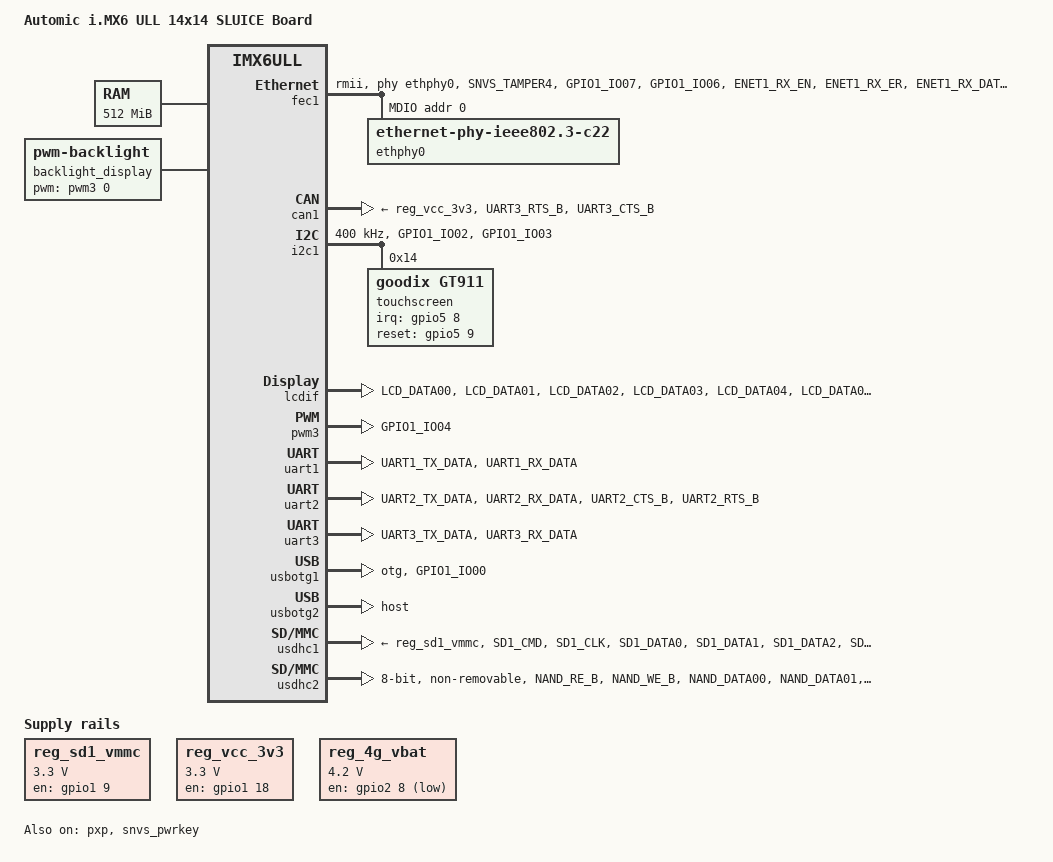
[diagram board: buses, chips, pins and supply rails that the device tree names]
/dts-v1/;

#include "imx6ull.dtsi"
// SPDX-License-Identifier: GPL-2.0
//
// Copyright (C) 2015 Freescale Semiconductor, Inc.

/ {
    model = "Automic i.MX6 ULL 14x14 SLUICE Board";
	compatible = "fsl,imx6ull-14x14-evk", "fsl,imx6ull";

	chosen {
		stdout-path = &uart1;
	};

	memory@80000000 {
		device_type = "memory";
		reg = <0x80000000 0x20000000>;
	};

	reserved-memory {
		#address-cells = <1>;
		#size-cells = <1>;
		ranges;

		linux,cma {
			compatible = "shared-dma-pool";
			reusable;
			size = <0xa000000>;
			linux,cma-default;
		};
	};

	backlight_display: backlight-display {
		compatible = "pwm-backlight";
		pwms = <&pwm3 0 5000000>;
		brightness-levels = <  0   1   2   3   4   5   6   7   8   9
				      10  11  12  13  14  15  16  17  18  19
				      20  21  22  23  24  25  26  27  28  29
				      30  31  32  33  34  35  36  37  38  39
				      40  41  42  43  44  45  46  47  48  49
				      50  51  52  53  54  55  56  57  58  59
				      60  61  62  63  64  65  66  67  68  69
				      70  71  72  73  74  75  76  77  78  79
				      80  81  82  83  84  85  86  87  88  89
				      90  91  92  93  94  95  96  97  98  99
				     100 101 102 103 104 105 106 107 108 109
				     110 111 112 113 114 115 116 117 118 119
				     120 121 122 123 124 125 126 127 128 129
				     130 131 132 133 134 135 136 137 138 139
				     140 141 142 143 144 145 146 147 148 149
				     150 151 152 153 154 155 156 157 158 159
				     160 161 162 163 164 165 166 167 168 169
				     170 171 172 173 174 175 176 177 178 179
				     180 181 182 183 184 185 186 187 188 189
				     190 191 192 193 194 195 196 197 198 199
				     200 201 202 203 204 205 206 207 208 209
				     210 211 212 213 214 215 216 217 218 219
				     220 221 222 223 224 225 226 227 228 229
				     230 231 232 233 234 235 236 237 238 239
				     240 241 242 243 244 245 246 247 248 249
				     250 251 252 253 254 255>;
		default-brightness-level = <150>;
		status = "okay";
	};

	pxp_v4l2 {
		compatible = "fsl,imx6ul-pxp-v4l2", "fsl,imx6sx-pxp-v4l2", "fsl,imx6sl-pxp-v4l2";
		status = "okay";
	};

	reg_sd1_vmmc: regulator-sd1-vmmc {
		compatible = "regulator-fixed";
		regulator-name = "VSD_3V3";
		regulator-min-microvolt = <3300000>;
		regulator-max-microvolt = <3300000>;
		gpio = <&gpio1 9 GPIO_ACTIVE_HIGH>;
		off-on-delay-us = <30000>;
		enable-active-high;
	};

	reg_vcc_3v3: regulator-can-3v3 {
		compatible = "regulator-fixed";
		pinctrl-names = "default";
		pinctrl-0 = <&pinctrl_vcc_3v3>;
		regulator-name = "VCC-3V3";
		regulator-min-microvolt = <3300000>;
		regulator-max-microvolt = <3300000>;
		gpios = <&gpio1 18 GPIO_ACTIVE_HIGH>;
		off-on-delay-us = <50000>;
		enable-active-high;
		regulator-always-on;
	};

	reg_4g_vbat: regulator-4g-vbat {
		compatible = "regulator-fixed";
		pinctrl-names = "default";
		pinctrl-0 = <&pinctrl_4g_vbat>;
		regulator-name = "VBAT-4G";
		regulator-min-microvolt = <4200000>;
		regulator-max-microvolt = <4200000>;
		gpios = <&gpio2 8 GPIO_ACTIVE_LOW>;
		off-on-delay-us = <50000>;
		regulator-always-on;
	};

};

&clks {
    assigned-clocks = <&clks IMX6UL_CLK_PLL3_PFD2>,
			  <&clks IMX6UL_CLK_PLL4_AUDIO_DIV>;
	assigned-clock-rates = <320000000>, <786432000>;
};

&fec1 {
	pinctrl-names = "default";
	pinctrl-0 = <&pinctrl_enet1>;
	phy-mode = "rmii";
	phy-handle = <&ethphy0>;
	phy-reset-gpios = <&gpio5 4 GPIO_ACTIVE_LOW>;
	phy-reset-duration = <100>;
	phy-reset-post-delay = <300>;
	status = "okay";
	
	mdio {
		#address-cells = <1>;
		#size-cells = <0>;

		ethphy0: ethernet-phy@1{
			compatible = "ethernet-phy-ieee802.3-c22";
			smsc,disable-energy-detect;
			reg = <0>;
		};
/*
		ethphy1: ethernet-phy@2 {
			compatible = "ethernet-phy-ieee802.3-c22";
			smsc,disable-energy-detect;
			reg = <1>;
		};
*/
	};
};

&can1 {
	pinctrl-names = "default";
	pinctrl-0 = <&pinctrl_flexcan1>;
	xceiver-supply = <&reg_vcc_3v3>;
	status = "okay";
};
/*
&can2 {
	pinctrl-names = "default";
	pinctrl-0 = <&pinctrl_flexcan2>;
	xceiver-supply = <&reg_can_3v3>;
	status = "okay";
};
*/

&i2c1 {
	clock-frequency = <400000>;
	pinctrl-names = "default";
	pinctrl-0 = <&pinctrl_i2c1>;
	status = "okay";

	touchscreen@14 {
		compatible = "goodix,gt911";
		reg = <0x14>;
		pinctrl-names = "default";
		pinctrl-0 = <&pinctrl_goodix_touch>;
		interrupt-parent = <&gpio5>;
		interrupts = <8 IRQ_TYPE_EDGE_RISING>;
		irq-gpios = <&gpio5 8 GPIO_ACTIVE_HIGH>;
		reset-gpios = <&gpio5 9 GPIO_ACTIVE_HIGH>;
		status = "okay";
	};
};

&lcdif {
    assigned-clocks = <&clks IMX6UL_CLK_LCDIF_PRE_SEL>;
	assigned-clock-parents = <&clks IMX6UL_CLK_PLL5_VIDEO_DIV>;
	pinctrl-names = "default";
	pinctrl-0 = <&pinctrl_lcdif_dat
		     &pinctrl_lcdif_ctrl>;

	display = <&display0>;
	status = "okay";

	display0: display@0 {
		bits-per-pixel = <24>;
		bus-width = <24>;

		display-timings {
			native-mode = <&timing0>;
			timing0: timing0 {
			clock-frequency = <51200000>;
			hactive = <1024>;
			vactive = <600>;
			hfront-porch = <160>;
			hback-porch = <160>;
			hsync-len = <70>;
			vback-porch = <23>;
			vfront-porch = <12>;
			vsync-len = <10>;

			hsync-active = <0>;
			vsync-active = <0>;
			de-active = <1>;
			pixelclk-active = <0>;
			};
		};
	};
};
&pxp {
	status = "okay";
};

&pwm3 {
	#pwm-cells = <2>;
	pinctrl-names = "default";
	pinctrl-0 = <&pinctrl_pwm3>;
	status = "okay";
};

&snvs_poweroff {
	status = "okay";
};

&snvs_pwrkey {
	status = "okay";
};


&uart1 {
	pinctrl-names = "default";
	pinctrl-0 = <&pinctrl_uart1>;
	status = "okay";
};

&uart2 {
	pinctrl-names = "default";
	pinctrl-0 = <&pinctrl_uart2>;
	uart-has-rtscts;
	/* for DTE mode, add below change */
	/* fsl,dte-mode; */
	/* pinctrl-0 = <&pinctrl_uart2dte>; */
	status = "okay";
};

&uart3 {
	pinctrl-names = "default";
	pinctrl-0 = <&pinctrl_uart3>;
	status = "okay";
};

&usbotg1 {
	dr_mode = "otg";
	pinctrl-names = "default";
	pinctrl-0 = <&pinctrl_usb_otg1>;
	status = "okay";
};

&usbotg2 {
	dr_mode = "host";
	disable-over-current;
	status = "okay";
};

&usbphy1 {
	fsl,tx-d-cal = <106>;
};

&usbphy2 {
	fsl,tx-d-cal = <106>;
};

&usdhc1 {
	pinctrl-names = "default", "state_100mhz", "state_200mhz";
	pinctrl-0 = <&pinctrl_usdhc1>;
	pinctrl-1 = <&pinctrl_usdhc1_100mhz>;
	pinctrl-2 = <&pinctrl_usdhc1_200mhz>;
	cd-gpios = <&gpio1 19 GPIO_ACTIVE_LOW>;
	keep-power-in-suspend;
	wakeup-source;
	vmmc-supply = <&reg_sd1_vmmc>;
	status = "okay";
};

//EMMC
&usdhc2 {
	pinctrl-names = "default", "state_100mhz", "state_200mhz";
	pinctrl-0 = <&pinctrl_usdhc2_8bit>;
	pinctrl-1 = <&pinctrl_usdhc2_8bit_100mhz>;
	pinctrl-2 = <&pinctrl_usdhc2_8bit_200mhz>;
	bus-width = <8>;
	non-removable;
	status = "okay";
};

&wdog1 {
	pinctrl-names = "default";
	pinctrl-0 = <&pinctrl_wdog>;
	fsl,ext-reset-output;
};

&iomuxc {
	pinctrl-names = "default";
	pinctrl_enet1: enet1grp {
		fsl,pins = <
			MX6UL_PAD_SNVS_TAMPER4__GPIO5_IO04  0x0b8b0
			MX6UL_PAD_GPIO1_IO07__ENET1_MDC		0x1b0b0
			MX6UL_PAD_GPIO1_IO06__ENET1_MDIO	0x1b0b0
			MX6UL_PAD_ENET1_RX_EN__ENET1_RX_EN	0x1b0b0
			MX6UL_PAD_ENET1_RX_ER__ENET1_RX_ER	0x1b0b0
			MX6UL_PAD_ENET1_RX_DATA0__ENET1_RDATA00	0x1b0b0
			MX6UL_PAD_ENET1_RX_DATA1__ENET1_RDATA01	0x1b0b0
			MX6UL_PAD_ENET1_TX_EN__ENET1_TX_EN	0x1b0b0
			MX6UL_PAD_ENET1_TX_DATA0__ENET1_TDATA00	0x1b0b0
			MX6UL_PAD_ENET1_TX_DATA1__ENET1_TDATA01	0x1b0b0
			MX6UL_PAD_ENET1_TX_CLK__ENET1_REF_CLK1	0x4001b031
		>;
	};

	pinctrl_flexcan1: flexcan1grp{
		fsl,pins = <
			MX6UL_PAD_UART3_RTS_B__FLEXCAN1_RX	0x1b020
			MX6UL_PAD_UART3_CTS_B__FLEXCAN1_TX	0x1b020
		>;
	};

	pinctrl_i2c1: i2c1grp {
		fsl,pins = <
			MX6UL_PAD_GPIO1_IO02__I2C1_SCL 0x4001b8b0
			MX6UL_PAD_GPIO1_IO03__I2C1_SDA 0x4001b8b0
		>;
	};


	pinctrl_i2c1_gpio: i2c1grp_gpio {
		fsl,pins = <
			MX6UL_PAD_GPIO1_IO02__GPIO1_IO02 0x1b8b0
			MX6UL_PAD_GPIO1_IO03__GPIO1_IO03 0x1b8b0
		>;
	};
	pinctrl_goodix_touch: goodixgrp{
		fsl,pins = <
			MX6UL_PAD_SNVS_TAMPER8__GPIO5_IO08	0x1b020  /*TS-INT*/
			MX6UL_PAD_SNVS_TAMPER9__GPIO5_IO09 	0x1b0b0 /*TS-REST*/
		>;
	};
	pinctrl_lcdif_dat: lcdifdatgrp {
		fsl,pins = <
			MX6UL_PAD_LCD_DATA00__LCDIF_DATA00  0x79
			MX6UL_PAD_LCD_DATA01__LCDIF_DATA01  0x79
			MX6UL_PAD_LCD_DATA02__LCDIF_DATA02  0x79
			MX6UL_PAD_LCD_DATA03__LCDIF_DATA03  0x79
			MX6UL_PAD_LCD_DATA04__LCDIF_DATA04  0x79
			MX6UL_PAD_LCD_DATA05__LCDIF_DATA05  0x79
			MX6UL_PAD_LCD_DATA06__LCDIF_DATA06  0x79
			MX6UL_PAD_LCD_DATA07__LCDIF_DATA07  0x79
			MX6UL_PAD_LCD_DATA08__LCDIF_DATA08  0x79
			MX6UL_PAD_LCD_DATA09__LCDIF_DATA09  0x79
			MX6UL_PAD_LCD_DATA10__LCDIF_DATA10  0x79
			MX6UL_PAD_LCD_DATA11__LCDIF_DATA11  0x79
			MX6UL_PAD_LCD_DATA12__LCDIF_DATA12  0x79
			MX6UL_PAD_LCD_DATA13__LCDIF_DATA13  0x79
			MX6UL_PAD_LCD_DATA14__LCDIF_DATA14  0x79
			MX6UL_PAD_LCD_DATA15__LCDIF_DATA15  0x79
			MX6UL_PAD_LCD_DATA16__LCDIF_DATA16  0x79
			MX6UL_PAD_LCD_DATA17__LCDIF_DATA17  0x79
			MX6UL_PAD_LCD_DATA18__LCDIF_DATA18  0x79
			MX6UL_PAD_LCD_DATA19__LCDIF_DATA19  0x79
			MX6UL_PAD_LCD_DATA20__LCDIF_DATA20  0x79
			MX6UL_PAD_LCD_DATA21__LCDIF_DATA21  0x79
			MX6UL_PAD_LCD_DATA22__LCDIF_DATA22  0x79
			MX6UL_PAD_LCD_DATA23__LCDIF_DATA23  0x79
		>;
	};

	pinctrl_lcdif_ctrl: lcdifctrlgrp {
		fsl,pins = <
			MX6UL_PAD_LCD_CLK__LCDIF_CLK	    0x79
			MX6UL_PAD_LCD_ENABLE__LCDIF_ENABLE  0x79
			MX6UL_PAD_LCD_HSYNC__LCDIF_HSYNC    0x79
			MX6UL_PAD_LCD_VSYNC__LCDIF_VSYNC    0x79
			/* used for lcd reset */
			MX6UL_PAD_SNVS_TAMPER7__GPIO5_IO07  0x79

		>;
	};

	pinctrl_vcc_3v3: vcc3v3grp {
		fsl,pins = <
			MX6UL_PAD_UART1_CTS_B__GPIO1_IO18	0x1b0b0
		>;
	};

	pinctrl_4g_vbat: lte_vbat_grp {
		fsl,pins = <
			MX6UL_PAD_ENET2_RX_DATA0__GPIO2_IO08	0x1b0b0
		>;
	};

	pinctrl_pwm3: pwm3grp {
		fsl,pins = <
			MX6UL_PAD_GPIO1_IO04__PWM3_OUT   0x110b0
		>;
	};
/*
	pinctrl_sim2: sim2grp {
		fsl,pins = <
			MX6UL_PAD_CSI_DATA03__SIM2_PORT1_PD		0xb808
			MX6UL_PAD_CSI_DATA04__SIM2_PORT1_CLK		0x31
			MX6UL_PAD_CSI_DATA05__SIM2_PORT1_RST_B		0xb808
			MX6UL_PAD_CSI_DATA06__SIM2_PORT1_SVEN		0xb808
			MX6UL_PAD_CSI_DATA07__SIM2_PORT1_TRXD		0xb809
			MX6UL_PAD_CSI_DATA02__GPIO4_IO23		0x3008
		>;
	};
*/
/*
	pinctrl_tsc: tscgrp {
		fsl,pins = <
			MX6UL_PAD_GPIO1_IO01__GPIO1_IO01		0xb0
			MX6UL_PAD_GPIO1_IO02__GPIO1_IO02		0xb0
			MX6UL_PAD_GPIO1_IO03__GPIO1_IO03		0xb0
			MX6UL_PAD_GPIO1_IO04__GPIO1_IO04		0xb0
		>;
	};
*/
	pinctrl_uart1: uart1grp {
		fsl,pins = <
			MX6UL_PAD_UART1_TX_DATA__UART1_DCE_TX 0x1b0b1
			MX6UL_PAD_UART1_RX_DATA__UART1_DCE_RX 0x1b0b1
		>;
	};

	pinctrl_uart2: uart2grp {
		fsl,pins = <
			MX6UL_PAD_UART2_TX_DATA__UART2_DCE_TX	0x1b0b1
			MX6UL_PAD_UART2_RX_DATA__UART2_DCE_RX	0x1b0b1
			MX6UL_PAD_UART2_CTS_B__UART2_DTE_RTS	0x1b0b1
			MX6UL_PAD_UART2_RTS_B__UART2_DTE_CTS	0x1b0b1
		>;
	};
	pinctrl_uart3: uart3grp {
		fsl,pins = <
			MX6UL_PAD_UART3_TX_DATA__UART3_DCE_TX 0x1b0b1
			MX6UL_PAD_UART3_RX_DATA__UART3_DCE_RX 0x1b0b1
		>;
	};

	pinctrl_usb_otg1: usbotg1grp {
		fsl,pins = <
			MX6UL_PAD_GPIO1_IO00__ANATOP_OTG1_ID	0x17059
		>;
	};

	pinctrl_usdhc1: usdhc1grp {
		fsl,pins = <
			MX6UL_PAD_SD1_CMD__USDHC1_CMD     	0x17059
			MX6UL_PAD_SD1_CLK__USDHC1_CLK		0x10071
			MX6UL_PAD_SD1_DATA0__USDHC1_DATA0 	0x17059
			MX6UL_PAD_SD1_DATA1__USDHC1_DATA1 	0x17059
			MX6UL_PAD_SD1_DATA2__USDHC1_DATA2 	0x17059
			MX6UL_PAD_SD1_DATA3__USDHC1_DATA3 	0x17059
			MX6UL_PAD_UART1_RTS_B__GPIO1_IO19       0x17059 /* SD1 CD */
			MX6UL_PAD_GPIO1_IO05__USDHC1_VSELECT    0x17059 /* SD1 VSELECT */
			MX6UL_PAD_GPIO1_IO09__GPIO1_IO09        0x17059 /* SD1 RESET */
		>;
	};

	pinctrl_usdhc1_100mhz: usdhc1grp100mhz {
		fsl,pins = <
			MX6UL_PAD_SD1_CMD__USDHC1_CMD     0x170b9
			MX6UL_PAD_SD1_CLK__USDHC1_CLK     0x100b9
			MX6UL_PAD_SD1_DATA0__USDHC1_DATA0 0x170b9
			MX6UL_PAD_SD1_DATA1__USDHC1_DATA1 0x170b9
			MX6UL_PAD_SD1_DATA2__USDHC1_DATA2 0x170b9
			MX6UL_PAD_SD1_DATA3__USDHC1_DATA3 0x170b9

		>;
	};

	pinctrl_usdhc1_200mhz: usdhc1grp200mhz {
		fsl,pins = <
			MX6UL_PAD_SD1_CMD__USDHC1_CMD     0x170f9
			MX6UL_PAD_SD1_CLK__USDHC1_CLK     0x100f9
			MX6UL_PAD_SD1_DATA0__USDHC1_DATA0 0x170f9
			MX6UL_PAD_SD1_DATA1__USDHC1_DATA1 0x170f9
			MX6UL_PAD_SD1_DATA2__USDHC1_DATA2 0x170f9
			MX6UL_PAD_SD1_DATA3__USDHC1_DATA3 0x170f9
		>;
	};

	pinctrl_usdhc2: usdhc2grp {
		fsl,pins = <
			MX6UL_PAD_NAND_RE_B__USDHC2_CLK     0x17059
			MX6UL_PAD_NAND_WE_B__USDHC2_CMD     0x17059
			MX6UL_PAD_NAND_DATA00__USDHC2_DATA0 0x17059
			MX6UL_PAD_NAND_DATA01__USDHC2_DATA1 0x17059
			MX6UL_PAD_NAND_DATA02__USDHC2_DATA2 0x17059
			MX6UL_PAD_NAND_DATA03__USDHC2_DATA3 0x17059
		>;
	};

	pinctrl_usdhc2_8bit: usdhc2grp_8bit {
		fsl,pins = <
			MX6UL_PAD_NAND_RE_B__USDHC2_CLK     0x10069
			MX6UL_PAD_NAND_WE_B__USDHC2_CMD     0x17059
			MX6UL_PAD_NAND_DATA00__USDHC2_DATA0 0x17059
			MX6UL_PAD_NAND_DATA01__USDHC2_DATA1 0x17059
			MX6UL_PAD_NAND_DATA02__USDHC2_DATA2 0x17059
			MX6UL_PAD_NAND_DATA03__USDHC2_DATA3 0x17059
			MX6UL_PAD_NAND_DATA04__USDHC2_DATA4 0x17059
			MX6UL_PAD_NAND_DATA05__USDHC2_DATA5 0x17059
			MX6UL_PAD_NAND_DATA06__USDHC2_DATA6 0x17059
			MX6UL_PAD_NAND_DATA07__USDHC2_DATA7 0x17059
		>;
	};

	pinctrl_usdhc2_8bit_100mhz: usdhc2grp_8bit_100mhz {
		fsl,pins = <
			MX6UL_PAD_NAND_RE_B__USDHC2_CLK     0x100b9
			MX6UL_PAD_NAND_WE_B__USDHC2_CMD     0x170b9
			MX6UL_PAD_NAND_DATA00__USDHC2_DATA0 0x170b9
			MX6UL_PAD_NAND_DATA01__USDHC2_DATA1 0x170b9
			MX6UL_PAD_NAND_DATA02__USDHC2_DATA2 0x170b9
			MX6UL_PAD_NAND_DATA03__USDHC2_DATA3 0x170b9
			MX6UL_PAD_NAND_DATA04__USDHC2_DATA4 0x170b9
			MX6UL_PAD_NAND_DATA05__USDHC2_DATA5 0x170b9
			MX6UL_PAD_NAND_DATA06__USDHC2_DATA6 0x170b9
			MX6UL_PAD_NAND_DATA07__USDHC2_DATA7 0x170b9
		>;
	};

	pinctrl_usdhc2_8bit_200mhz: usdhc2grp_8bit_200mhz {
		fsl,pins = <
			MX6UL_PAD_NAND_RE_B__USDHC2_CLK     0x100f9
			MX6UL_PAD_NAND_WE_B__USDHC2_CMD     0x170f9
			MX6UL_PAD_NAND_DATA00__USDHC2_DATA0 0x170f9
			MX6UL_PAD_NAND_DATA01__USDHC2_DATA1 0x170f9
			MX6UL_PAD_NAND_DATA02__USDHC2_DATA2 0x170f9
			MX6UL_PAD_NAND_DATA03__USDHC2_DATA3 0x170f9
			MX6UL_PAD_NAND_DATA04__USDHC2_DATA4 0x170f9
			MX6UL_PAD_NAND_DATA05__USDHC2_DATA5 0x170f9
			MX6UL_PAD_NAND_DATA06__USDHC2_DATA6 0x170f9
			MX6UL_PAD_NAND_DATA07__USDHC2_DATA7 0x170f9
		>;
	};

	pinctrl_wdog: wdoggrp {
		fsl,pins = <
			/*MX6UL_PAD_LCD_RESET__WDOG1_WDOG_ANY    0x30b0 */
			MX6UL_PAD_ENET2_RX_ER__WDOG1_WDOG_ANY    0x30b0
		>;
	};
};



